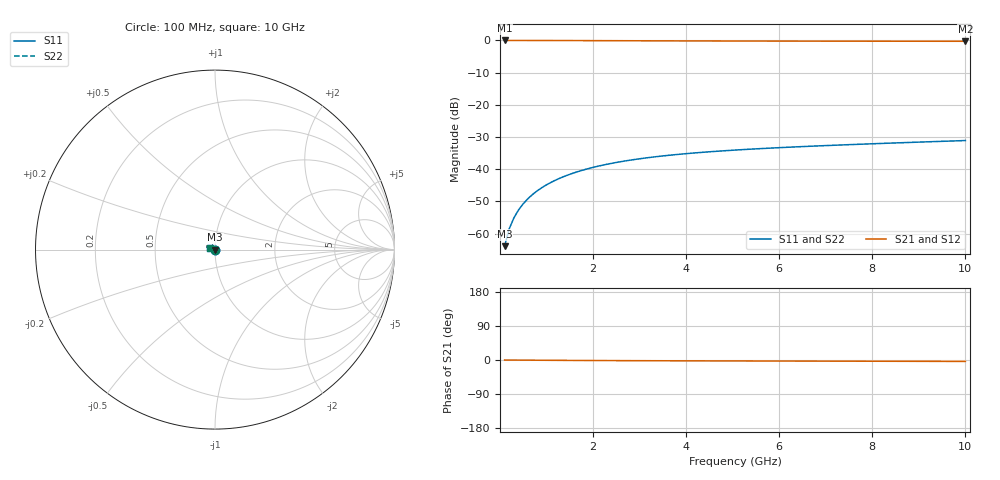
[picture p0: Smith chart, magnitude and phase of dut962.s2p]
! Touchstone file exported from HFSS 2024.1.0
!  File:  C:/UserFiles/LocalFiles/RDL_TSV_Batchsim/temp_TSV1_962_1779950258.aedt
!  Generated:  02:43:41 PM May 28, 2026
!  Design:  TSV1
!  Project:  temp_TSV1_962_1779950258
!  Setup:  Setup1
!  Solution:  Sweep
! Variables:
!  dtsv = 6.6um
!  hbump = 3um
!  htsv = 55.25um
!  lrdl = 252.1521522um
!  p = 40
!  p1 = 43.38um
!  t = 500um
!  trdl = 3um
!  wrdl = 24.89489489um
# GHz S MA R 50.000000
! Terminal data exported
! Port[1] = TSV22_T1
! Port[2] = TSV22_T2
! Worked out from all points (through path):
!   100 points, 100 MHz to 10 GHz, reference 50 ohm
!   highest |S21| = 0.00 dB at 100 MHz (marker M1); lowest = -0.3 dB at 10 GHz (marker M2)
!   lowest |S11| = -63.9 dB at 100 MHz (marker M3), VSWR 1.00, Z = 50 - j0.0587 ohm
!   |S11| at or under -10 dB: start of sweep to end of sweep
!   |S22| runs from -63.9 to -31.1 dB; largest |S21 - S12| = 3.3e-15
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0.1  0.0006358 -67.3  0.9997 -0.1  0.9997 -0.1  0.0006358 -67.3
! Gamma 0 0 0 0
! Port Impedance 50 0 50 0
0.2  0.001186 -81.1  0.9996 -0.2  0.9996 -0.2  0.001186 -81.1
0.3  0.001754 -87.4  0.9995 -0.2  0.9995 -0.2  0.001754 -87.4
0.4  0.002327 -91.5  0.9994 -0.3  0.9994 -0.3  0.002327 -91.5
0.5  0.002901 -94.7  0.9992 -0.4  0.9992 -0.4  0.002901 -94.7
0.6  0.003472 -97.4  0.999 -0.5  0.999 -0.5  0.003472 -97.4
0.7  0.00404 -99.9  0.9987 -0.5  0.9987 -0.5  0.00404 -99.9
0.8  0.004603 -102.2  0.9984 -0.6  0.9984 -0.6  0.004603 -102.2
0.9  0.005159 -104.4  0.9981 -0.7  0.9981 -0.7  0.005159 -104.4
1.1  0.006248 -108.4  0.9974 -0.8  0.9974 -0.8  0.006248 -108.4
1.4  0.007812 -114.1  0.9961 -1.0  0.9961 -1.0  0.007812 -114.1
1.6  0.008803 -117.7  0.9952 -1.1  0.9952 -1.1  0.008803 -117.7
1.8  0.009749 -121.2  0.9943 -1.3  0.9943 -1.3  0.009749 -121.2
2.1  0.01108 -126.1  0.9928 -1.4  0.9928 -1.4  0.01108 -126.1
2.5  0.01271 -132.3  0.9907 -1.6  0.9907 -1.6  0.01271 -132.3
2.9  0.01416 -138.0  0.9887 -1.8  0.9887 -1.8  0.01416 -138.0
3.4  0.01576 -144.6  0.9863 -2.0  0.9863 -2.0  0.01576 -144.6
4.2  0.01791 -154.1  0.9829 -2.3  0.9829 -2.3  0.01791 -154.1
5.1  0.01989 -163.2  0.9797 -2.5  0.9797 -2.5  0.01989 -163.2
6.7  0.02276 -176.6  0.9756 -2.9  0.9756 -2.9  0.02275 -176.6
8.4  0.0254 172.0  0.9727 -3.4  0.9727 -3.4  0.0254 172.0
10  0.02784 163.2  0.9707 -3.8  0.9707 -3.8  0.02783 163.2
